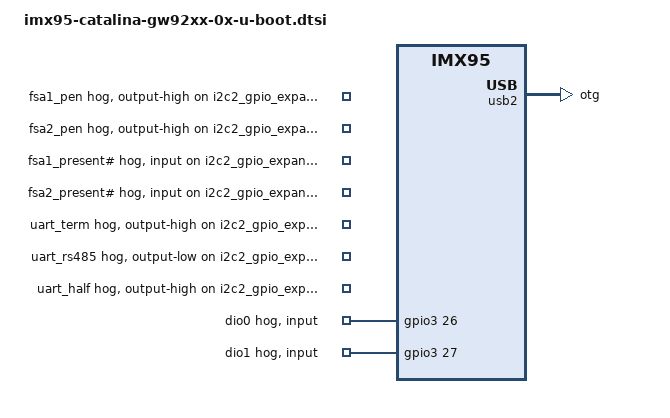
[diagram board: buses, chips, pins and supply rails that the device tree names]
// SPDX-License-Identifier: GPL-2.0+
/*
 * Copyright 2025 Gateworks
 */

#include "imx95-u-boot.dtsi"

&i2c2_gpio_expander_27 {
	fsa1_pen {
		gpio-hog;
		output-high;
		gpios = <0 GPIO_ACTIVE_HIGH>;
		line-name = "fsa1_pen";
	};

	fsa2_pen {
		gpio-hog;
		output-high;
		gpios = <1 GPIO_ACTIVE_HIGH>;
		line-name = "fsa2_pen";
	};

	fsa1_present {
		gpio-hog;
		input;
		gpios = <4 GPIO_ACTIVE_HIGH>;
		line-name = "fsa1_present#";
	};

	fsa2_present {
		gpio-hog;
		input;
		gpios = <5 GPIO_ACTIVE_HIGH>;
		line-name = "fsa2_present#";
	};

	uart_term {
		gpio-hog;
		output-high;
		gpios = <12 GPIO_ACTIVE_HIGH>;
		line-name = "uart_term";
	};

	uart_rs485 {
		gpio-hog;
		output-low;
		gpios = <13 GPIO_ACTIVE_HIGH>;
		line-name = "uart_rs485";
	};

	uart_half {
		gpio-hog;
		output-high;
		gpios = <14 GPIO_ACTIVE_HIGH>;
		line-name = "uart_half";
	};
};

&gpio3 {
	dio0 {
		gpio-hog;
		input;
		gpios = <26 GPIO_ACTIVE_HIGH>;
		line-name = "dio0";
	};

	dio1 {
		gpio-hog;
		input;
		gpios = <27 GPIO_ACTIVE_HIGH>;
		line-name = "dio1";
	};
};

/* DP83867 needs 1uS assertion and 195us post-delay */
&ethphy0 {
	reset-gpios = <&gpio5 3 GPIO_ACTIVE_LOW>;
	reset-assert-us = <2>;
	reset-deassert-us = <200>;
};

/* DP83867 needs 1uS assertion and 195us post-delay */
&ethphy1 {
	reset-gpios = <&gpio4 14 GPIO_ACTIVE_LOW>;
	reset-assert-us = <2>;
	reset-deassert-us = <200>;
};

/* AQR113 needs 100ms min for reset and 221ms min before MDIO access */
&ethphy2 {
	reset-gpios = <&gpio5 2 GPIO_ACTIVE_LOW>;
	reset-assert-us = <110>;
	reset-deassert-us = <250>;
};

&lpi2c2 {
	bootph-pre-ram;
};

&pinctrl_lpi2c2 {
	bootph-pre-ram;
};

&gsc {
	bootph-pre-ram;
};

&lpuart1 {
	bootph-pre-ram;
};

&reg_usdhc2_vmmc {
	bootph-pre-ram;
};

&usb2 {
	bootph-pre-ram;
	dr_mode = "otg";
};

&usbphynop {
	bootph-pre-ram;
};

&usb3 {
	bootph-pre-ram;
};

&usb3_dwc3 {
	bootph-pre-ram;
};

&usb3_phy {
	bootph-pre-ram;
};

&usdhc1 {
	bootph-pre-ram;
};

&usdhc2 {
	bootph-pre-ram;
};

/* disable SDHC3 as we do not want it considered for boot */
&usdhc3 {
	status = "disabled";
};

&wdog3 {
	status = "disabled";
};

&pinctrl_uart1 {
	bootph-pre-ram;
};

&pinctrl_usdhc1 {
	bootph-pre-ram;
};

&pinctrl_usdhc1_100mhz {
	bootph-pre-ram;
};

&pinctrl_usdhc1_200mhz {
	bootph-pre-ram;
};

&pinctrl_usdhc2 {
	bootph-pre-ram;
};

&pinctrl_usdhc2_100mhz {
	bootph-pre-ram;
};

&pinctrl_usdhc2_200mhz {
	bootph-pre-ram;
};

&pinctrl_usdhc2_gpio {
	bootph-pre-ram;
};

&pinctrl_reg_usdhc2_vmmc {
	bootph-pre-ram;
};
